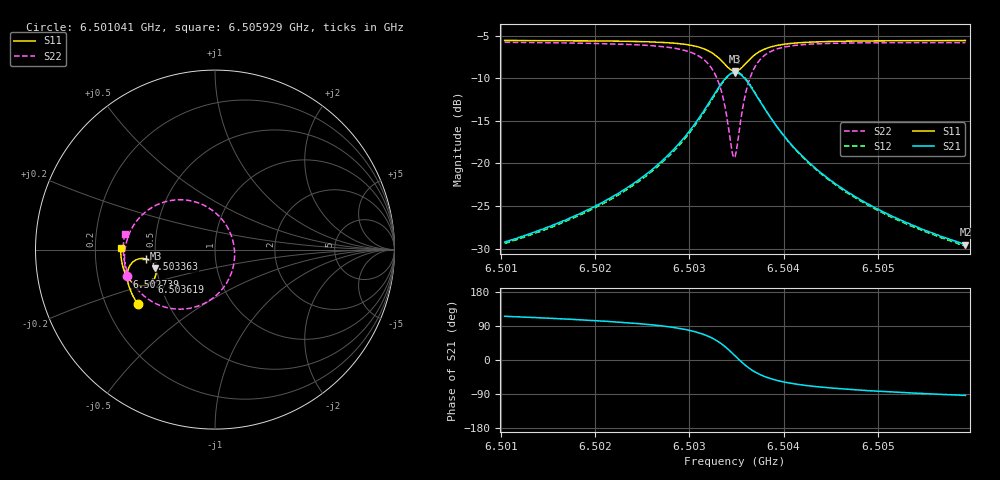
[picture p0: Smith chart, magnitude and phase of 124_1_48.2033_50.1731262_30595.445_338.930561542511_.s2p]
#  HZ  S  RI  R  50.00
! Rohde & Schwarz Vector Network Analyzer
! Rohde-Schwarz,ZNB20-2Port,1311601062101988,3.16
! Created: UTC 3/20/2024, 11:41:37 AM
! freq[Hz]  re:S11  im:S11  re:S21  im:S21  re:S12  im:S12  re:S22  im:S22
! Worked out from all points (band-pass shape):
!   401 points, 6.501041 GHz to 6.505929 GHz, reference 50 ohm
!   highest |S21| = -9.33 dB at 6.503485 GHz (marker M1); lowest = -29.5 dB at 6.505929 GHz (marker M2)
!   |S21| within 3 dB of the highest: 6.50324 GHz to 6.503729 GHz (488.5 kHz wide, 0.00751 % of centre)
!   lowest |S11| = -9.2 dB at 6.503485 GHz (marker M3), VSWR 2.06, Z = 24.6 - j5.8 ohm
!   |S11| at or under -10 dB: nowhere
!   |S22| runs from -19.3 to -5.8 dB; largest |S21 - S12| = 0.012
!   S11 on the Smith chart (normalised r, x): 6.501041 GHz: 0.34, -0.28; 6.502739 GHz: 0.33, -0.14; 6.503363 GHz: 0.44, -0.05; 6.503619 GHz: 0.45, -0.19; 6.505929 GHz: 0.31, +0.01
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6.5010406e9  -0.4304 -0.3033  -0.0148 0.0312  -0.013 0.0312  -0.4927 -0.1451
6.5018594e9  -0.4651 -0.2419  -0.0141 0.0494  -0.0117 0.0489  -0.5043 -0.0562
6.5023117e9  -0.4805 -0.2012  -0.0108 0.0694  -0.00784 0.0682  -0.5 0.00971
6.5026783e9  -0.4887 -0.1596  -0.00139 0.0997  0.00218 0.0972  -0.479 0.0857
6.5027394e9  -0.4891 -0.1514  0.00184 0.107  0.00559 0.1042  -0.4718 0.1019
6.5029594e9  -0.4856 -0.1163  0.0241 0.1425  0.0278 0.1381  -0.4252 0.1731
6.5031183e9  -0.4706 -0.0841  0.0638 0.1789  0.0668 0.173  -0.3476 0.2369
6.503265e9  -0.4325 -0.0542  0.1465 0.2077  0.1473 0.2014  -0.197 0.2779
6.5033139e9  -0.4112 -0.0494  0.1895 0.2063  0.1894 0.2006  -0.1216 0.2689
6.5033627e9  -0.3857 -0.0515  0.2388 0.1908  0.2389 0.1858  -0.0371 0.2337
6.5034483e9  -0.3425 -0.0812  0.3175 0.1151  0.32 0.1107  0.0885 0.0845
6.503485e9  -0.3316 -0.1035  0.3351 0.0658  0.3386 0.0602  0.1089 -0.00826
6.5035094e9  -0.3288 -0.1198  0.3384 0.0308  0.3423 0.0239  0.1063 -0.0723
6.5035461e9  -0.3309 -0.1441  0.3308 -0.0197  0.3343 -0.0288  0.078 -0.1619
6.5036194e9  -0.3535 -0.1814  0.2834 -0.0965  0.2832 -0.108  -0.0339 -0.2854
6.5037294e9  -0.3995 -0.2014  0.1955 -0.1417  0.1901 -0.1514  -0.2116 -0.3314
6.5038883e9  -0.4468 -0.1918  0.1113 -0.1375  0.104 -0.1427  -0.3636 -0.2819
6.5040594e9  -0.4748 -0.1705  0.0654 -0.1163  0.0591 -0.1186  -0.4376 -0.2147
6.5043038e9  -0.4959 -0.1406  0.0347 -0.0909  0.0297 -0.0914  -0.4818 -0.1408
6.5046705e9  -0.5114 -0.1016  0.0153 -0.0667  0.0118 -0.0663  -0.5044 -0.065
6.5051227e9  -0.5209 -0.0593  0.00529 -0.0496  0.00287 -0.0488  -0.5108 0.000999
6.5059293e9  -0.526 0.00945  -0.00206 -0.0333  -0.00341 -0.0325  -0.5033 0.0882
